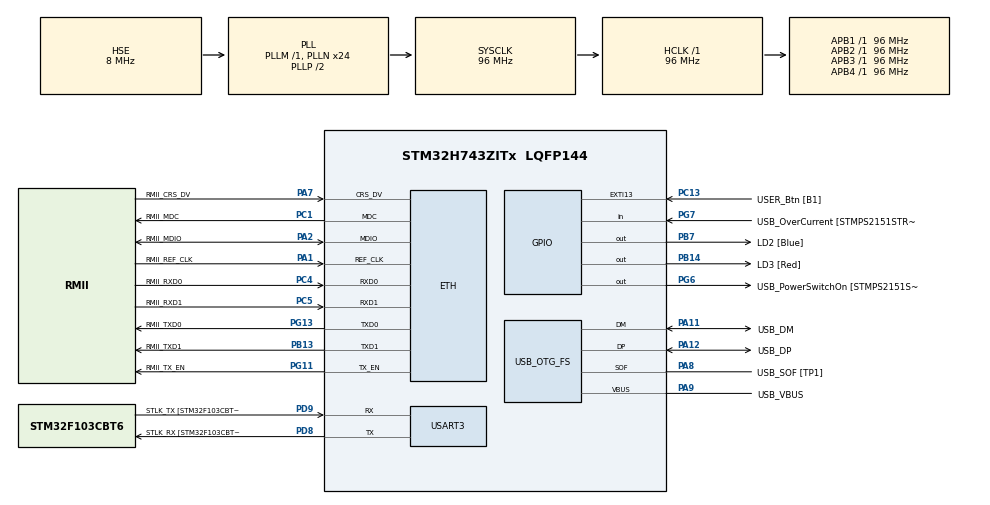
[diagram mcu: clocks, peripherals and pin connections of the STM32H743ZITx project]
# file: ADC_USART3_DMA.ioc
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ADC3.Channel-0\#ChannelRegularConversion=ADC_CHANNEL_TEMPSENSOR
ADC3.Channel-1\#ChannelRegularConversion=ADC_CHANNEL_VREFINT
ADC3.ContinuousConvMode=ENABLE
ADC3.ConversionDataManagement=ADC_CONVERSIONDATA_DMA_CIRCULAR
ADC3.EOCSelection=ADC_EOC_SINGLE_CONV
ADC3.NbrOfConversion=2
ADC3.NbrOfConversionFlag=1
ADC3.OffsetNumber-0\#ChannelRegularConversion=ADC_OFFSET_NONE
ADC3.OffsetNumber-1\#ChannelRegularConversion=ADC_OFFSET_NONE
ADC3.Rank-0\#ChannelRegularConversion=1
ADC3.Rank-1\#ChannelRegularConversion=2
ADC3.SamplingTime-0\#ChannelRegularConversion=ADC_SAMPLETIME_387CYCLES_5
ADC3.SamplingTime-1\#ChannelRegularConversion=ADC_SAMPLETIME_387CYCLES_5
Dma.ADC3.0.Direction=DMA_PERIPH_TO_MEMORY
Dma.ADC3.0.EventEnable=DISABLE
Dma.ADC3.0.FIFOMode=DMA_FIFOMODE_DISABLE
Dma.ADC3.0.Instance=DMA1_Stream0
Dma.ADC3.0.MemDataAlignment=DMA_MDATAALIGN_WORD
Dma.ADC3.0.MemInc=DMA_MINC_ENABLE
Dma.ADC3.0.Mode=DMA_CIRCULAR
Dma.ADC3.0.PeriphDataAlignment=DMA_PDATAALIGN_WORD
Dma.ADC3.0.PeriphInc=DMA_PINC_DISABLE
Dma.ADC3.0.Polarity=HAL_DMAMUX_REQ_GEN_RISING
Dma.ADC3.0.Priority=DMA_PRIORITY_LOW
Dma.ADC3.0.RequestNumber=1
Dma.ADC3.0.SignalID=NONE
Dma.ADC3.0.SyncEnable=DISABLE
Dma.ADC3.0.SyncPolarity=HAL_DMAMUX_SYNC_NO_EVENT
Dma.ADC3.0.SyncRequestNumber=1
Dma.ADC3.0.SyncSignalID=NONE
Dma.Request0=ADC3
Dma.Request1=USART3_RX
Dma.Request2=USART3_TX
Dma.USART3_RX.1.Direction=DMA_PERIPH_TO_MEMORY
Dma.USART3_RX.1.EventEnable=DISABLE
Dma.USART3_RX.1.FIFOMode=DMA_FIFOMODE_DISABLE
Dma.USART3_RX.1.Instance=DMA1_Stream1
Dma.USART3_RX.1.MemDataAlignment=DMA_MDATAALIGN_BYTE
Dma.USART3_RX.1.MemInc=DMA_MINC_ENABLE
Dma.USART3_RX.1.Mode=DMA_CIRCULAR
Dma.USART3_RX.1.PeriphDataAlignment=DMA_PDATAALIGN_BYTE
Dma.USART3_RX.1.PeriphInc=DMA_PINC_DISABLE
Dma.USART3_RX.1.Polarity=HAL_DMAMUX_REQ_GEN_RISING
Dma.USART3_RX.1.Priority=DMA_PRIORITY_LOW
Dma.USART3_RX.1.RequestNumber=1
Dma.USART3_RX.1.SignalID=NONE
Dma.USART3_RX.1.SyncEnable=DISABLE
Dma.USART3_RX.1.SyncPolarity=HAL_DMAMUX_SYNC_NO_EVENT
Dma.USART3_RX.1.SyncRequestNumber=1
Dma.USART3_RX.1.SyncSignalID=NONE
Dma.USART3_TX.2.Direction=DMA_MEMORY_TO_PERIPH
Dma.USART3_TX.2.EventEnable=DISABLE
Dma.USART3_TX.2.FIFOMode=DMA_FIFOMODE_DISABLE
Dma.USART3_TX.2.Instance=DMA1_Stream2
Dma.USART3_TX.2.MemDataAlignment=DMA_MDATAALIGN_BYTE
Dma.USART3_TX.2.MemInc=DMA_MINC_ENABLE
Dma.USART3_TX.2.Mode=DMA_NORMAL
Dma.USART3_TX.2.PeriphDataAlignment=DMA_PDATAALIGN_BYTE
Dma.USART3_TX.2.PeriphInc=DMA_PINC_DISABLE
Dma.USART3_TX.2.Polarity=HAL_DMAMUX_REQ_GEN_RISING
Dma.USART3_TX.2.Priority=DMA_PRIORITY_LOW
Dma.USART3_TX.2.RequestNumber=1
Dma.USART3_TX.2.SignalID=NONE
Dma.USART3_TX.2.SyncEnable=DISABLE
Dma.USART3_TX.2.SyncPolarity=HAL_DMAMUX_SYNC_NO_EVENT
Dma.USART3_TX.2.SyncRequestNumber=1
Dma.USART3_TX.2.SyncSignalID=NONE
ETH.MediaInterface=HAL_ETH_RMII_MODE
Mcu.Family=STM32H7
Mcu.Name=STM32H743ZITx
Mcu.Package=LQFP144
NVIC.ADC3_IRQn=true\:0\:0\:false\:false\:true\:true\:true
NVIC.DMA1_Stream0_IRQn=true\:0\:0\:false\:false\:true\:false\:true
NVIC.DMA1_Stream1_IRQn=true\:0\:0\:false\:false\:true\:false\:true
NVIC.DMA1_Stream2_IRQn=true\:0\:0\:false\:false\:true\:false\:true
NVIC.PriorityGroup=NVIC_PRIORITYGROUP_4
NVIC.TIM6_DAC_IRQn=true\:0\:0\:false\:false\:true\:true\:true
NVIC.USART3_IRQn=true\:0\:0\:false\:false\:true\:true\:true
PA1.GPIO_Label=RMII_REF_CLK
PA1.Mode=RMII
PA1.Signal=ETH_REF_CLK
PA10.GPIO_Label=USB_ID
PA10.Signal=USB_OTG_FS_ID
PA11.GPIO_Label=USB_DM
PA11.Mode=Device_Only
PA11.Signal=USB_OTG_FS_DM
PA12.GPIO_Label=USB_DP
PA12.Mode=Device_Only
PA12.Signal=USB_OTG_FS_DP
PA2.GPIO_Label=RMII_MDIO
PA2.Mode=RMII
PA2.Signal=ETH_MDIO
PA7.GPIO_Label=RMII_CRS_DV
PA7.Mode=RMII
PA7.Signal=ETH_CRS_DV
PA8.GPIO_Label=USB_SOF [TP1]
PA8.Mode=Activate_SOF_FS
PA8.Signal=USB_OTG_FS_SOF
PA9.GPIO_Label=USB_VBUS
PA9.Mode=Activate_VBUS
PA9.Signal=USB_OTG_FS_VBUS
PB13.GPIO_Label=RMII_TXD1
PB13.Mode=RMII
PB13.Signal=ETH_TXD1
PB14.GPIO_Label=LD3 [Red]
PB14.Signal=GPIO_Output
PB7.GPIO_Label=LD2 [Blue]
PB7.Signal=GPIO_Output
PC1.GPIO_Label=RMII_MDC
PC1.Mode=RMII
PC1.Signal=ETH_MDC
PC13.GPIO_Label=USER_Btn [B1]
PC13.Signal=GPXTI13
PC14-OSC32_IN\ (OSC32_IN).Mode=LSE-External-Oscillator
PC14-OSC32_IN\ (OSC32_IN).Signal=RCC_OSC32_IN
PC15-OSC32_OUT\ (OSC32_OUT).Mode=LSE-External-Oscillator
PC15-OSC32_OUT\ (OSC32_OUT).Signal=RCC_OSC32_OUT
PC4.GPIO_Label=RMII_RXD0
PC4.Mode=RMII
PC4.Signal=ETH_RXD0
PC5.GPIO_Label=RMII_RXD1
PC5.Mode=RMII
PC5.Signal=ETH_RXD1
PD8.GPIO_Label=STLK_RX [STM32F103CBT6_PA3]
PD8.Mode=Asynchronous
PD8.Signal=USART3_TX
PD9.GPIO_Label=STLK_TX [STM32F103CBT6_PA2]
PD9.Mode=Asynchronous
PD9.Signal=USART3_RX
PG11.GPIO_Label=RMII_TX_EN
PG11.Mode=RMII
PG11.Signal=ETH_TX_EN
PG13.GPIO_Label=RMII_TXD0
PG13.Mode=RMII
PG13.Signal=ETH_TXD0
PG6.GPIO_Label=USB_PowerSwitchOn [STMPS2151STR_EN]
PG6.Signal=GPIO_Output
PG7.GPIO_Label=USB_OverCurrent [STMPS2151STR_FAULT]
PG7.Signal=GPIO_Input
PH0-OSC_IN\ (PH0).GPIO_Label=MCO
PH0-OSC_IN\ (PH0).Mode=HSE-External-Clock-Source
PH0-OSC_IN\ (PH0).Signal=RCC_OSC_IN
PH1-OSC_OUT\ (PH1).Mode=HSE-External-Clock-Source
PH1-OSC_OUT\ (PH1).Signal=RCC_OSC_OUT
ProjectManager.HeapSize=0x200
ProjectManager.StackSize=0x400
ProjectManager.TargetToolchain=SW4STM32
RCC.48MHZClocksFreq_Value=24000000
RCC.ADCFreq_Value=24000000
RCC.AHBFreq_Value=216000000
RCC.APB1CLKDivider=RCC_HCLK_DIV4
RCC.APB1Freq_Value=96000000
RCC.APB1TimFreq_Value=108000000
RCC.APB2CLKDivider=RCC_HCLK_DIV2
RCC.APB2Freq_Value=96000000
RCC.APB2TimFreq_Value=216000000
RCC.APB3Freq_Value=96000000
RCC.APB4Freq_Value=96000000
RCC.CortexFreq_Value=96000000
RCC.DIVM1=1
RCC.DIVM2=1
RCC.DIVN1=24
RCC.DIVN2=21
RCC.DIVP2=7
RCC.DIVQ1=4
RCC.HCLKFreq_Value=96000000
RCC.HSE_VALUE=8000000
RCC.HSI_VALUE=64000000
RCC.PLL2FRACN=0
RCC.PLLFRACN=0
RCC.PLLM=25
RCC.PLLMUL=RCC_PLL_MUL9
RCC.PLLN=432
RCC.PLLQ=9
RCC.PRESCALERUSB=RCC_USBCLKSOURCE_PLL_DIV1_5
RCC.PWR_Regulator_Voltage_Scale=PWR_REGULATOR_VOLTAGE_SCALE1
RCC.SYSCLKFreq_VALUE=96000000
RCC.SYSCLKSource=RCC_SYSCLKSOURCE_PLLCLK
RCC.SYSCLKSourceVirtual=RCC_SYSCLKSOURCE_PLLCLK
RCC.USBFreq_Value=48000000
RCC.VCOOutputFreq_Value=432000000
TIM6.Period=1000-1
TIM6.Prescaler=96-1
USART3.VirtualMode-Asynchronous=VM_ASYNC
USB_OTG_FS.VirtualMode=Device_Only
VP_ADC3_TempSens_Input.Mode=IN-TempSens
VP_ADC3_Vref_Input.Mode=IN-Vrefint
VP_TIM6_VS_ClockSourceINT.Mode=Enable_Timer
board=NUCLEO-H743ZI

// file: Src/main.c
/* USER CODE BEGIN Header */
/**
 ******************************************************************************
 * @file           : main.c
 * @brief          : Main program body
 ******************************************************************************
 * @attention
 *
 * <h2><center>&copy; Copyright (c) 2019 STMicroelectronics.
 * All rights reserved.</center></h2>
 *
 * This software component is licensed by ST under BSD 3-Clause license,
 * the "License"; You may not use this file except in compliance with the
 * License. You may obtain a copy of the License at:
 *                        opensource.org/licenses/BSD-3-Clause
 *
 ******************************************************************************
 */
/* USER CODE END Header */

#include "main.h"
#include "adc.h"
#include "dma.h"
#include "eth.h"
#include "tim.h"
#include "usart.h"
#include "usb_otg.h"
#include "gpio.h"

/* USER CODE BEGIN PD */
#define RXBUFFERSIZE 1
// ADC读取内部温度传感器值，以及内部参考电压值
#define AD_DMA_SIZE 2
#define USART_REC_LEN 100
#define TEMP30_CAL_ADDR ((uint16_t*) ((uint32_t) 0x1FF1E820))
#define TEMP110_CAL_ADDR ((uint16_t*) ((uint32_t) 0x1FF1E840))
#define VREFINT_CAL_ADDR ((uint16_t*) ((uint32_t) 0x1FF1E860))
#if defined( __ICCARM__ )
#define DMA_BUFFER \
      _Pragma("location=\".dma_buffer\"")
#else
#define DMA_BUFFER \
      __attribute__((section(".dma_buffer")))
#endif
/* USER CODE END PD */

/* USER CODE BEGIN PV */
uint8_t aRxBuffer[RXBUFFERSIZE] DMA_BUFFER;
uint16_t USART_RX_STA = 0;
uint8_t USART_RX_BUF[USART_REC_LEN];
uint8_t USART_TX_BUF[USART_REC_LEN] DMA_BUFFER;
uint16_t AD_Value = 0;
uint32_t AD_DMA_Value[AD_DMA_SIZE] DMA_BUFFER;
float Temperature_Vlaue = 0;
float VREFINT_Vlaue = 0;
/* USER CODE END PV */

void SystemClock_Config(void);

int main(void) {

	/* MCU Configuration--------------------------------------------------------*/

	/* Reset of all peripherals, Initializes the Flash interface and the Systick. */
	HAL_Init();

	/* Configure the system clock */
	SystemClock_Config();

	/* Initialize all configured peripherals */
	MX_GPIO_Init();
	MX_DMA_Init();
	MX_ADC3_Init();
	MX_ETH_Init();
	MX_USART3_UART_Init();
	MX_USB_OTG_FS_PCD_Init();
	MX_TIM6_Init();
	/* USER CODE BEGIN 2 */
	HAL_UART_Receive_DMA(&huart3, (uint8_t *) aRxBuffer, RXBUFFERSIZE);
	ADC_ConfigureBoostMode(&hadc3);
	HAL_ADCEx_Calibration_Start(&hadc3, ADC_CALIB_OFFSET_LINEARITY,
	ADC_SINGLE_ENDED);
	HAL_TIM_Base_Start_IT(&htim6);
	HAL_ADC_Start_DMA(&hadc3, (uint32_t*) &AD_DMA_Value, AD_DMA_SIZE);

	/* USER CODE END 2 */

	/* Infinite loop */
	while (1) {

	}
}

void SystemClock_Config(void) {
	RCC_OscInitTypeDef RCC_OscInitStruct = { 0 };
	RCC_ClkInitTypeDef RCC_ClkInitStruct = { 0 };
	RCC_PeriphCLKInitTypeDef PeriphClkInitStruct = { 0 };

	/** Supply configuration update enable
	 */
	HAL_PWREx_ConfigSupply(PWR_LDO_SUPPLY);
	/** Configure the main internal regulator output voltage
	 */
	__HAL_PWR_VOLTAGESCALING_CONFIG(PWR_REGULATOR_VOLTAGE_SCALE1);

	while (!__HAL_PWR_GET_FLAG(PWR_FLAG_VOSRDY)) {
	}
	/** Macro to configure the PLL clock source
	 */
	__HAL_RCC_PLL_PLLSOURCE_CONFIG(RCC_PLLSOURCE_HSE);
	/** Initializes the CPU, AHB and APB busses clocks
	 */
	RCC_OscInitStruct.OscillatorType = RCC_OSCILLATORTYPE_HSE;
	RCC_OscInitStruct.HSEState = RCC_HSE_BYPASS;
	RCC_OscInitStruct.PLL.PLLState = RCC_PLL_ON;
	RCC_OscInitStruct.PLL.PLLSource = RCC_PLLSOURCE_HSE;
	RCC_OscInitStruct.PLL.PLLM = 1;
	RCC_OscInitStruct.PLL.PLLN = 24;
	RCC_OscInitStruct.PLL.PLLP = 2;
	RCC_OscInitStruct.PLL.PLLQ = 4;
	RCC_OscInitStruct.PLL.PLLR = 2;
	RCC_OscInitStruct.PLL.PLLRGE = RCC_PLL1VCIRANGE_3;
	RCC_OscInitStruct.PLL.PLLVCOSEL = RCC_PLL1VCOWIDE;
	RCC_OscInitStruct.PLL.PLLFRACN = 0;
	if (HAL_RCC_OscConfig(&RCC_OscInitStruct) != HAL_OK) {
		Error_Handler();
	}
	/** Initializes the CPU, AHB and APB busses clocks
	 */
	RCC_ClkInitStruct.ClockType = RCC_CLOCKTYPE_HCLK | RCC_CLOCKTYPE_SYSCLK
			| RCC_CLOCKTYPE_PCLK1 | RCC_CLOCKTYPE_PCLK2 | RCC_CLOCKTYPE_D3PCLK1
			| RCC_CLOCKTYPE_D1PCLK1;
	RCC_ClkInitStruct.SYSCLKSource = RCC_SYSCLKSOURCE_PLLCLK;
	RCC_ClkInitStruct.SYSCLKDivider = RCC_SYSCLK_DIV1;
	RCC_ClkInitStruct.AHBCLKDivider = RCC_HCLK_DIV1;
	RCC_ClkInitStruct.APB3CLKDivider = RCC_APB3_DIV1;
	RCC_ClkInitStruct.APB1CLKDivider = RCC_APB1_DIV1;
	RCC_ClkInitStruct.APB2CLKDivider = RCC_APB2_DIV1;
	RCC_ClkInitStruct.APB4CLKDivider = RCC_APB4_DIV1;

	if (HAL_RCC_ClockConfig(&RCC_ClkInitStruct, FLASH_LATENCY_1) != HAL_OK) {
		Error_Handler();
	}
	PeriphClkInitStruct.PeriphClockSelection = RCC_PERIPHCLK_USART3
			| RCC_PERIPHCLK_ADC | RCC_PERIPHCLK_USB;
	PeriphClkInitStruct.PLL2.PLL2M = 1;
	PeriphClkInitStruct.PLL2.PLL2N = 21;
	PeriphClkInitStruct.PLL2.PLL2P = 7;
	PeriphClkInitStruct.PLL2.PLL2Q = 2;
	PeriphClkInitStruct.PLL2.PLL2R = 2;
	PeriphClkInitStruct.PLL2.PLL2RGE = RCC_PLL2VCIRANGE_3;
	PeriphClkInitStruct.PLL2.PLL2VCOSEL = RCC_PLL2VCOMEDIUM;
	PeriphClkInitStruct.PLL2.PLL2FRACN = 0;
	PeriphClkInitStruct.Usart234578ClockSelection =
	RCC_USART234578CLKSOURCE_D2PCLK1;
	PeriphClkInitStruct.UsbClockSelection = RCC_USBCLKSOURCE_PLL;
	PeriphClkInitStruct.AdcClockSelection = RCC_ADCCLKSOURCE_PLL2;
	if (HAL_RCCEx_PeriphCLKConfig(&PeriphClkInitStruct) != HAL_OK) {
		Error_Handler();
	}
	/** Enable USB Voltage detector
	 */
	HAL_PWREx_EnableUSBVoltageDetector();
}

/* USER CODE BEGIN 4 */
void HAL_TIM_PeriodElapsedCallback(TIM_HandleTypeDef *htim) {
	if (htim->Instance == htim6.Instance) {
		/* USER CODE HERE */
		static int count;
		static int count_sum = 1000 - 1;
		if (count < count_sum) {
			count++;
		} else {
			count = 0;
			Temperature_Vlaue = (float) (110 - 30)
					/ (float) (*TEMP110_CAL_ADDR - *TEMP30_CAL_ADDR)
					* (float) (AD_DMA_Value[0] - *TEMP30_CAL_ADDR) + 30;
			VREFINT_Vlaue = (float) 3.3 * (float) *VREFINT_CAL_ADDR
					/ (float) AD_DMA_Value[1];
			memset(USART_TX_BUF, 0, sizeof(USART_TX_BUF));
			sprintf(USART_TX_BUF,
					"MCU Temperature %09.5f℃ VREFINT_Vlaue %09.5f\r\n",
					Temperature_Vlaue, VREFINT_Vlaue);
			HAL_UART_Transmit_DMA(&huart3, (uint8_t *) USART_TX_BUF,
					strlen(USART_TX_BUF));
		}
		/* USER CODE HERE */
	}
}
void HAL_UART_RxCpltCallback(UART_HandleTypeDef *huart) {
	if (huart->Instance == huart3.Instance) {
		if ((USART_RX_STA & 0x8000) == 0) {
			if (USART_RX_STA & 0x4000) {
				if (aRxBuffer[0] != 0x0a)
					USART_RX_STA = 0;
				else
					USART_RX_STA |= 0x8000;
			} else {
				if (aRxBuffer[0] == 0x0d) {
					USART_RX_STA |= 0x4000;
				} else {
					USART_RX_BUF[USART_RX_STA & 0X3FFF] = aRxBuffer[0];
					USART_RX_STA++;
					if (USART_RX_STA > (USART_REC_LEN - 1)) {
						USART_RX_STA = 0;
					}
				}
			}
		}
		if ((USART_RX_STA & 0x8000) != 0) {
			memcpy(USART_TX_BUF, USART_RX_BUF, (USART_RX_STA & 0x3FFF));
			USART_TX_BUF[(USART_RX_STA & 0x3FFF)] = 0x0d;
			USART_TX_BUF[(USART_RX_STA & 0x3FFF) + 1] = 0x0a;
			HAL_UART_Transmit_DMA(&huart3, (uint8_t *) USART_TX_BUF,
					((USART_RX_STA & 0x3FFF) + 2));
			USART_RX_STA = 0;
		}
	}
}
void HAL_UART_TxCpltCallback(UART_HandleTypeDef *huart) {
	if (huart->Instance == huart3.Instance) {

	}
}
void HAL_ADC_ConvCpltCallback(ADC_HandleTypeDef* hadc) {
	if (hadc->Instance == hadc3.Instance) {

	}
}

/* USER CODE END 4 */

void Error_Handler(void) {
}

/************************ (C) COPYRIGHT STMicroelectronics *****END OF FILE****/
